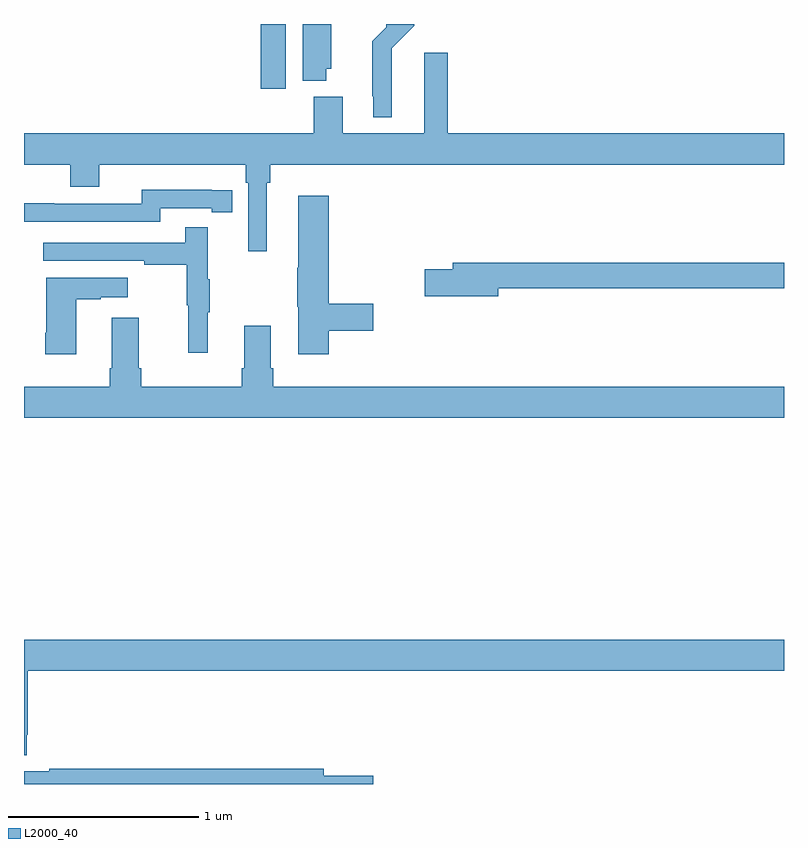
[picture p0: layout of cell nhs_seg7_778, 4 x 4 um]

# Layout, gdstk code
import gdstk
lib = gdstk.Library(unit=1e-6, precision=1e-09)
def R(c, l, rs):  # rectangles x0, y0, x1, y1
    for r in rs: c.add(gdstk.rectangle(r[:2], r[2:], *l))
def P(c, l, *ps):  # polygons
    for p in ps: c.add(gdstk.Polygon(p, *l))
L2000_40 = (2000, 40)

nhs_seg7_778 = lib.new_cell('nhs_seg7_778')
R(nhs_seg7_778, L2000_40, [(170.246,1023.66,170.377,1024)])
P(nhs_seg7_778, L2000_40, [(170.59,1023.765),(170.617,1023.765),(170.617,1024),(170.468,1024),(170.468,1023.701),(170.59,1023.701)],
  [(170.935,1023.872),(171.053,1023.99),(171.053,1024),(170.907,1024),(170.907,1023.984),(170.833,1023.91),(170.833,1023.619),(170.837,1023.619),(170.837,1023.509),(170.935,1023.509)],
  [(170.278,1023.164),(170.297,1023.164),(170.297,1023.26),(173,1023.26),(173,1023.424),(171.23,1023.424),(171.23,1023.85),(171.107,1023.85),(171.107,1023.424),(170.677,1023.424),(170.677,1023.616),(170.525,1023.616),(170.525,1023.424),(169,1023.424),(169,1023.26),(169.244,1023.26),(169.244,1023.143),(169.396,1023.143),(169.396,1023.26),(170.168,1023.26),(170.168,1023.164),(170.181,1023.164),(170.181,1022.805),(170.278,1022.805)],
  [(169.716,1023.03),(169.988,1023.03),(169.988,1023.01),(170.096,1023.01),(170.096,1023.126),(169.988,1023.126),(169.988,1023.127),(169.62,1023.127),(169.62,1023.054),(169.16,1023.054),(169.16,1023.056),(169,1023.056),(169,1022.958),(169.716,1022.958)],
  [(170.603,1022.386),(170.839,1022.386),(170.839,1022.528),(170.603,1022.528),(170.603,1023.097),(170.444,1023.097),(170.444,1022.717),(170.437,1022.717),(170.437,1022.511),(170.444,1022.511),(170.444,1022.262),(170.603,1022.262)],
  [(169.967,1022.483),(169.978,1022.483),(169.978,1022.657),(169.967,1022.657),(169.967,1022.929),(169.849,1022.929),(169.849,1022.85),(169.101,1022.85),(169.101,1022.754),(169.633,1022.754),(169.633,1022.734),(169.857,1022.734),(169.857,1022.52),(169.864,1022.52),(169.864,1022.271),(169.967,1022.271)],
  [(171.496,1022.608),(173,1022.608),(173,1022.744),(171.257,1022.744),(171.257,1022.708),(171.108,1022.708),(171.108,1022.566),(171.496,1022.566)],
  [(169.276,1022.551),(169.403,1022.551),(169.403,1022.561),(169.546,1022.561),(169.546,1022.665),(169.118,1022.665),(169.118,1022.374),(169.111,1022.374),(169.111,1022.262),(169.276,1022.262)],
  [(173,1022.092),(170.312,1022.092),(170.312,1022.188),(170.299,1022.188),(170.299,1022.413),(170.159,1022.413),(170.159,1022.188),(170.147,1022.188),(170.147,1022.092),(169.616,1022.092),(169.616,1022.188),(169.603,1022.188),(169.603,1022.455),(169.463,1022.455),(169.463,1022.188),(169.451,1022.188),(169.451,1022.092),(169,1022.092),(169,1021.928),(173,1021.928)],
  [(169.014,1020.259),(169.021,1020.259),(169.021,1020.596),(173,1020.596),(173,1020.76),(169,1020.76),(169,1020.152),(169.014,1020.152)],
  [(170.839,1020.044),(170.578,1020.044),(170.578,1020.08),(169.132,1020.08),(169.132,1020.067),(169,1020.067),(169,1020),(170.839,1020)])

lib.write_gds('nhs_seg7_778.gds')
